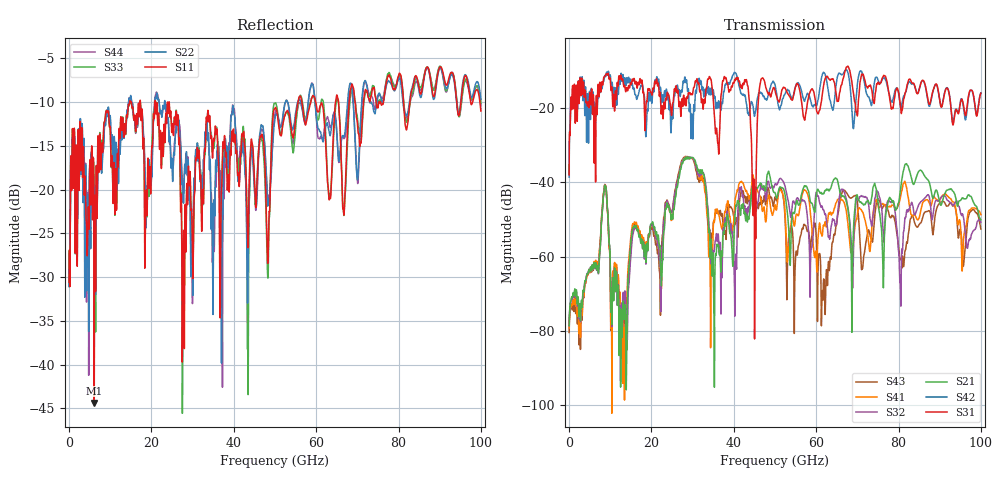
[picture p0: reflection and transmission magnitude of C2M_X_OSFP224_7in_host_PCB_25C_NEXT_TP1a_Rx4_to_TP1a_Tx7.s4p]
# GHz S RI R 45
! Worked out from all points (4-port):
!   4000 points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, 25 MHz to 100 GHz, reference 45 ohm
!   strongest paths, dB at 25 MHz, 25.02 GHz, 50.02 GHz, 75.03 GHz, 100 GHz:
!     S31: -38.0, -20.4, -15.3, -13.1, -16.0
!     S42: -38.6, -21.8, -13.7, -12.6, -15.9
!     S21: -78.7, -49.0, -42.8, -45.2, -50.1
!     S32: -78.0, -47.9, -40.5, -42.6, -50.8
!     S41: -79.2, -49.0, -46.1, -46.3, -48.7
!     S43: -80.4, -47.8, -43.9, -44.4, -52.6
!   lowest |S11| = -44.4 dB at 6.125 GHz (marker M1), VSWR 1.01, Z = 44.7 - j0.453 ohm
!   |S11| at or under -10 dB: start of sweep to 14.7 GHz; 24.32 GHz to 55.61 GHz (31.3 GHz wide, 78.3 % of centre); 59.9 GHz to 64.7 GHz (4.807 GHz wide, 7.72 % of centre)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
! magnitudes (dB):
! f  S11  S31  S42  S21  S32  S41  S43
! 25 MHz  -30.6  -38.0  -38.6  -78.7  -78.0  -79.2  -80.4
! 6.125 GHz  -44.4  -34.8  -20.7  -61.7  -61.9  -61.4  -61.9
! 8.775 GHz  -11.8  -11.4  -11.3  -40.9  -40.8  -40.7  -40.7
! 13.38 GHz  -13.2  -14.1  -13.3  -76.9  -72.8  -82.9  -81.0
! 28.27 GHz  -22.5  -17.7  -12.7  -33.2  -33.3  -33.1  -33.0
! 35.15 GHz  -14.2  -20.0  -16.5  -74.4  -58.5  -50.4  -50.6
! 100 GHz  -11.0  -16.0  -15.9  -50.1  -50.8  -48.7  -52.6
